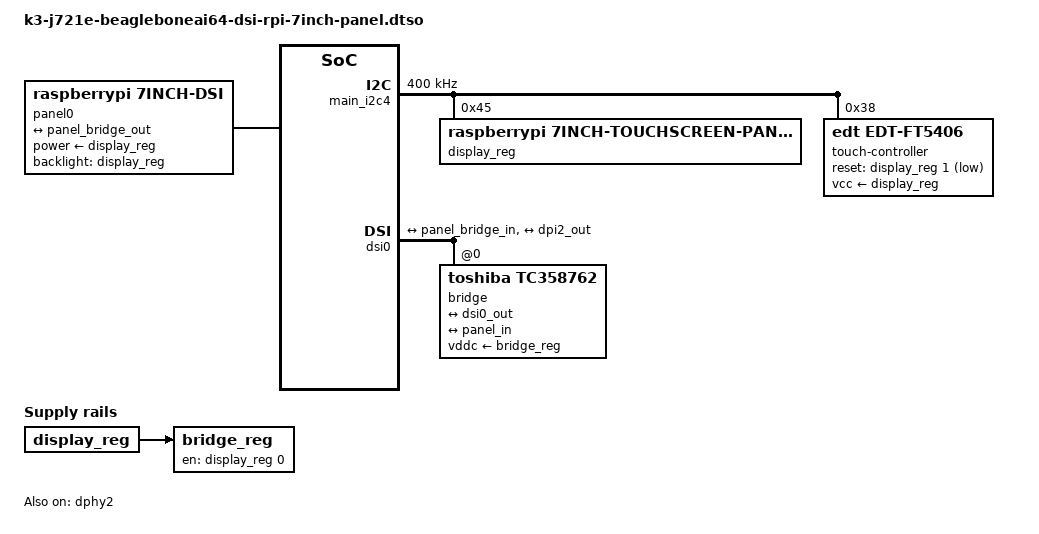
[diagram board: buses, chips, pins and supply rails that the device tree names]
// SPDX-License-Identifier: GPL-2.0-or-later OR MIT
/**
 * DT Overlay for RPi 7inch touchscreen panel interfaced with DSI on
 * J721E based BeagleBone AI-64 (BBAI-64) platform.
 *
 * BBAI-64: https://www.beagleboard.org/boards/beaglebone-ai-64
 * RPi DSI Panel: https://www.raspberrypi.com/products/raspberry-pi-touch-display/
 *
 * Copyright (C) 2024 Texas Instruments Incorporated - https://www.ti.com/
 */

/dts-v1/;
/plugin/;

#include <dt-bindings/gpio/gpio.h>
#include <dt-bindings/interrupt-controller/irq.h>

#include "k3-pinctrl.h"

&{/} {
	bridge_reg: bridge-regulator {
		compatible = "regulator-fixed";
		regulator-name = "bridge-reg";
		gpio = <&display_reg 0 0>;
		vin-supply = <&display_reg>;
		enable-active-high;
	};

	panel0 {
		compatible = "raspberrypi,7inch-dsi", "simple-panel";
		backlight = <&display_reg>;
		power-supply = <&display_reg>;
		port {
			panel_in: endpoint {
				remote-endpoint = <&panel_bridge_out>;
			};
		};
	};
};

&main_pmx0 {
	dsi_main_i2c4_pins: dsi-main-i2c4-pins {
		pinctrl-single,pins = <
			J721E_IOPAD(0xa8, PIN_INPUT_PULLUP, 2) /* (AD19) PRG1_MDIO0_MDIO.I2C4_SCL */
			J721E_IOPAD(0xac, PIN_INPUT_PULLUP, 2) /* (AD18) PRG1_MDIO0_MDC.I2C4_SDA */
		>;
	};
};

&main_i2c4 {
	clock-frequency = <400000>;
	pinctrl-names = "default";
	pinctrl-0 = <&dsi_main_i2c4_pins>;
	#address-cells = <1>;
	#size-cells = <0>;

	display_reg: regulator@45 {
		compatible = "raspberrypi,7inch-touchscreen-panel-regulator";
		reg = <0x45>;
		gpio-controller;
		#gpio-cells = <2>;
	};

	touch-controller@38 {
		compatible = "edt,edt-ft5406";
		reg = <0x38>;

		touchscreen-size-x = < 800 >;
		touchscreen-size-y = < 480 >;

		vcc-supply = <&display_reg>;
		reset-gpio = <&display_reg 1 1>;

		touchscreen-inverted-x;
		touchscreen-inverted-y;
	};
};

&dss_ports {
	#address-cells = <1>;
	#size-cells = <0>;

	port@2 {
		reg = <2>;

		dpi2_out: endpoint {
			remote-endpoint = <&dsi0_in>;
		};
	};
};

&dphy2 {
	status = "okay";
};

&dsi0 {
	status = "okay";
	#address-cells = <1>;
	#size-cells = <0>;

	ports {
		#address-cells = <1>;
		#size-cells = <0>;

		port@0 {
			reg = <0>;
			dsi0_out: endpoint {
				remote-endpoint = <&panel_bridge_in>;
			};
		};

		port@1 {
			reg = <1>;
			dsi0_in: endpoint {
				remote-endpoint = <&dpi2_out>;
			};
		};
	};

	bridge@0 {
		compatible = "toshiba,tc358762";
		reg = <0>;
		vddc-supply = <&bridge_reg>;
		ports {
			#address-cells = <1>;
			#size-cells = <0>;

			port@0 {
				reg = <0>;
				panel_bridge_in: endpoint {
					remote-endpoint = <&dsi0_out>;
				};
			};

			port@1 {
				reg = <1>;
				panel_bridge_out: endpoint {
					remote-endpoint = <&panel_in>;
				};
			};
		};
	};

};
